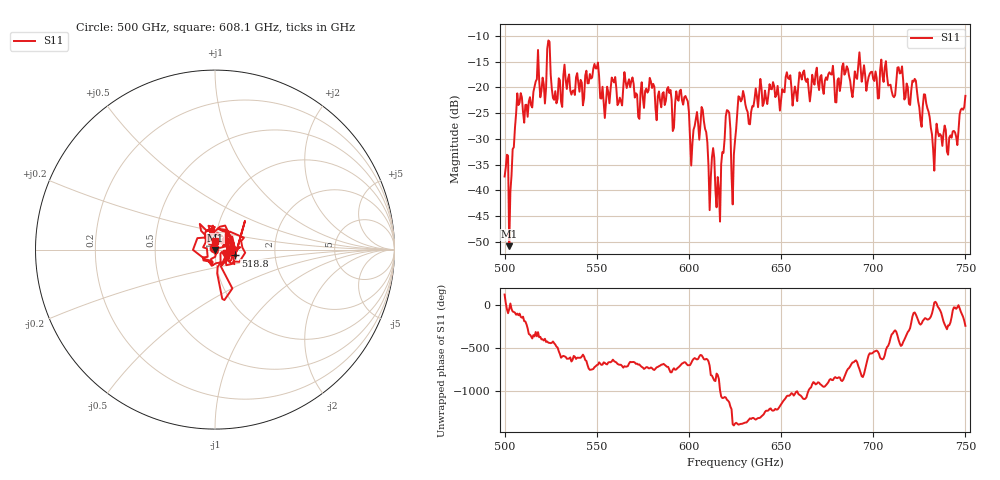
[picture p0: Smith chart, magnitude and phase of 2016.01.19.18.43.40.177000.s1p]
!Created with skrf (http://scikit-rf.org).
# GHz S RI R 50.0
!freq ReS11 ImS11
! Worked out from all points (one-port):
!   401 points, 500 GHz to 750 GHz, reference 50 ohm
!   lowest |S11| = -50.8 dB at 502.5 GHz (marker M1), VSWR 1.01, Z = 50.2 - j0.207 ohm
!   |S11| at or under -10 dB: start of sweep to end of sweep
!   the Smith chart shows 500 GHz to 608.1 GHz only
!   S11 on the Smith chart (normalised r, x): 500 GHz: 0.98, +0.02; 518.8 GHz: 1.25, -0.08; 608.1 GHz: 1.00, +0.09
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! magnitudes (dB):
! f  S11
! 500 GHz  -37.3
! 502.5 GHz  -50.8
! 507.5 GHz  -23.4
! 518.8 GHz  -18.6
! 524.4 GHz  -11.1
! 526.9 GHz  -22.4
! 531.2 GHz  -23.8
! 549.4 GHz  -16.3
! 553.1 GHz  -19.9
! 562.5 GHz  -22.0
! 593.8 GHz  -22.2
! 598.8 GHz  -22.2
! 601.9 GHz  -31.0
! 608.1 GHz  -26.6
! 615.6 GHz  -37.4
! 620.6 GHz  -24.4
! 625 GHz  -30.4
! 628.1 GHz  -22.7
! 656.2 GHz  -23.5
! 687.5 GHz  -18.8
! 705.6 GHz  -18.9
! 710.6 GHz  -21.6
! 714.4 GHz  -17.3
! 718.8 GHz  -20.0
! 728.8 GHz  -23.1
! 732.5 GHz  -32.1
! 745 GHz  -29.6
! 750 GHz  -21.6
